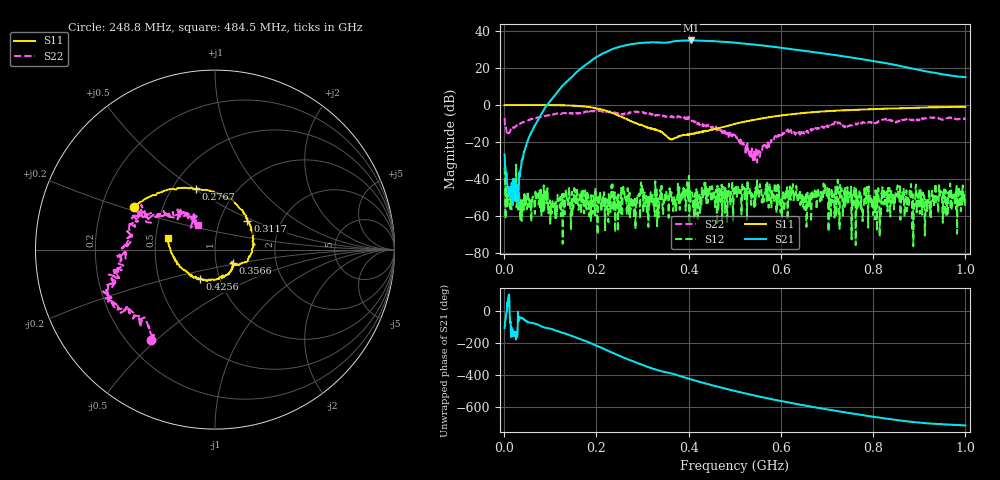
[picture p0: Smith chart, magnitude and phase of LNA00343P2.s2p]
! Created with skrf 1.9.0 (http://scikit-rf.org).
# Hz S RI R 50.0
!freq ReS11 ImS11 ReS21 ImS21 ReS12 ImS12 ReS22 ImS22
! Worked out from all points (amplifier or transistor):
!   1001 points, 1 MHz to 1 GHz, reference 50 ohm
!   highest |S21| = 34.9 dB at 404.6 MHz (marker M1)
!   |S21| within 3 dB of that: 256.5 MHz to 568.9 MHz (312.4 MHz wide, 75.7 % of centre)
!   unconditionally stable (mu >= 1): 233 MHz to 296.5 MHz; 296.9 MHz to 396.6 MHz; 400.7 MHz to end of sweep (the widest 3 of 40)
!   at 166.8 MHz: K = 3.79, MAG = 30.6 dB, |S12| = -58.8 dB
!   at 500.5 MHz: K = 1.83, MAG = 34.4 dB, |S12| = -45.6 dB
!   at 1 GHz: K = 8.45, MAG = 23.0 dB, |S12| = -55.5 dB
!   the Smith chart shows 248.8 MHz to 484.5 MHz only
!   S11 on the Smith chart (normalised r, x): 248.8 MHz: 0.34, +0.22; 276.7 MHz: 0.65, +0.51; 311.7 MHz: 1.35, +0.46; 356.6 MHz: 1.20, -0.18; 425.6 MHz: 0.81, -0.27; 484.5 MHz: 0.58, +0.08
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1000000  0.9926 0.0157  -0.0116 -0.0444  -0.0185 0.00844  0.2932 0.3365
1.08892e8  0.5051 -0.856  -0.8425 -1.549  0.00125 -0.00149  0.4174 -0.3689
1.67833e8  -0.2654 -0.8871  -10.12 -0.3935  0.00433 -0.0015  0.0437 -0.6367
2.11789e8  -0.6851 -0.3087  -14.94 18.79  -0.00144 -0.00222  -0.1971 -0.6447
2.29771e8  -0.6399 -0.00792  -7.971 29.53  -0.00117 -0.00309  -0.2677 -0.6066
2.48752e8  -0.4503 0.2378  6.021 36.68  0.000598 -0.0011  -0.3572 -0.5043
2.76724e8  -0.1057 0.3393  30.23 32.59  -0.000434 -0.00184  -0.554 -0.3018
3.11689e8  0.1806 0.1597  48.29 7.952  0.00313 -0.000803  -0.5561 -0.1718
3.34666e8  0.2021 -0.021  47.99 -10.95  -0.000518 0.000752  -0.524 -0.0589
3.56644e8  0.0979 -0.075  44.13 -22.9  -0.000446 -0.000765  -0.4699 0.0822
3.75625e8  0.0968 -0.0943  39.74 -37.06  0.00058 0.00344  -0.452 0.1827
4.04596e8  0.0123 -0.1655  19.99 -52.09  0.000116 0.00319  -0.3233 0.1813
4.25575e8  -0.0834 -0.1626  3.544 -54.86  -0.00063 -0.00108  -0.2351 0.2103
4.53547e8  -0.2028 -0.0842  -16.4 -50.8  0.00196 0.00254  -0.1476 0.1764
4.84516e8  -0.2644 0.0629  -33.11 -38.25  0.00243 0.000382  -0.0923 0.1352
5.005e8  -0.2695 0.1472  -38.53 -29.74  -0.00242 0.00467  -0.0736 0.1345
5.4046e8  -0.1838 0.347  -42.38 -8.25  0.00244 -0.00211  -0.0278 0.00493
5.88412e8  0.0291 0.4962  -35.05 11.82  0.00197 -0.00704  -0.11 -0.0925
6.67333e8  0.4075 0.4884  -12.87 24.05  -0.00193 -0.00355  -0.2127 -0.0701
7.53247e8  0.6796 0.2764  4.39 18.7  -0.000231 1.71e-05  -0.2772 -0.00528
8.34166e8  0.7994 0.0136  9.794 8.723  -0.00343 0.000316  -0.3838 0.0166
1e9  0.7271 -0.5278  5.672 0.1004  -0.00158 -0.000566  -0.2598 0.3323
